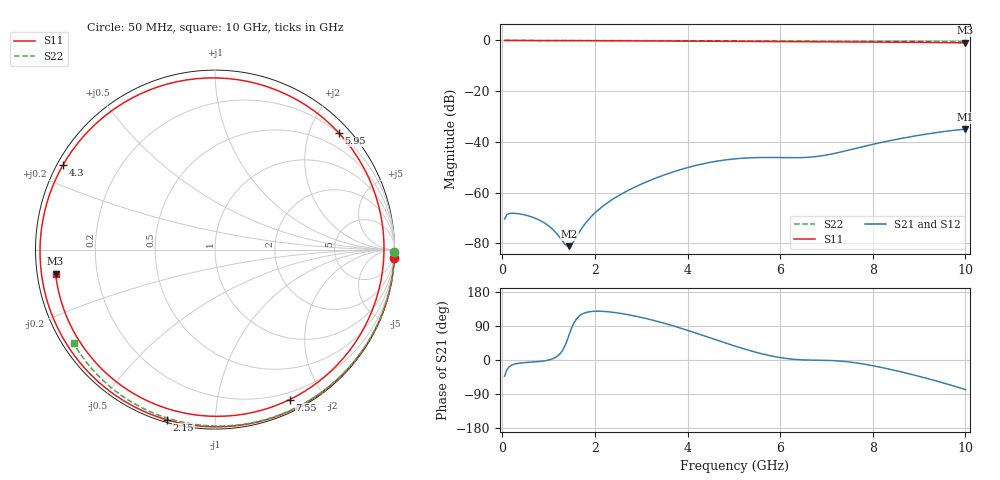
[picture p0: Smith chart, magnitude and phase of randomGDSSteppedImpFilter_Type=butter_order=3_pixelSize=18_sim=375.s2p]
! freq	dB(S11)	phase(S11)	dB(S12)	phase(S12)
!  dB(S21)	phase(S21)	dB(S22)	phase(S22)
!S-par simulation data
#  GHz  S  DB  R 50
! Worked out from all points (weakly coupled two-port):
!   200 points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, 50 MHz to 10 GHz, reference 50 ohm
!   highest |S21| = -34.97 dB at 10 GHz (marker M1); lowest = -81.1 dB at 1.45 GHz (marker M2)
!   lowest |S11| = -0.9 dB at 10 GHz (marker M3), VSWR 18.68, Z = 2.69 - j3.72 ohm
!   |S11| at or under -10 dB: nowhere
!   |S22| runs from -0.5 to 0.0 dB; largest |S21 - S12| = 0
!   S11 on the Smith chart (normalised r, x): 50 MHz: 0, -44; 2.15 GHz: 0.01, -0.76; 4.3 GHz: 0.02, +0.26; 5.95 GHz: 0.20, +2.51; 7.55 GHz: 0.12, -1.61; 10 GHz: 0.05, -0.07
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0.05  -0.00 -2.6  -70.36 -42.7  -70.36 -42.7  -0.00 -0.9
0.2  -0.00 -10.3  -68.08 -13.6  -68.08 -13.6  -0.00 -3.4
0.7  -0.03 -35.9  -69.98 -5.0  -69.98 -5.0  -0.01 -11.9
1.05  -0.06 -53.4  -73.82 1.7  -73.82 1.7  -0.02 -17.8
1.35  -0.08 -68.0  -80.23 36.5  -80.23 36.5  -0.03 -22.8
1.45  -0.09 -72.9  -81.07 69.0  -81.07 69.0  -0.03 -24.4
1.75  -0.11 -87.1  -73.16 122.7  -73.16 122.7  -0.04 -29.4
2.15  -0.13 -105.7  -65.62 128.6  -65.62 128.6  -0.05 -35.9
2.75  -0.16 -133.3  -58.80 118.8  -58.80 118.8  -0.06 -45.6
3.4  -0.20 -163.5  -53.66 100.2  -53.66 100.2  -0.07 -55.8
3.85  -0.23 174.4  -50.89 84.1  -50.89 84.1  -0.09 -62.7
4.3  -0.27 150.8  -48.75 66.2  -48.75 66.2  -0.10 -69.4
5.05  -0.36 106.1  -46.61 35.7  -46.61 35.7  -0.12 -80.4
5.5  -0.41 75.6  -46.16 19.6  -46.16 19.6  -0.14 -86.9
5.95  -0.46 43.2  -46.14 7.4  -46.14 7.4  -0.16 -93.2
6.35  -0.50 14.0  -46.21 1.3  -46.21 1.3  -0.18 -98.7
6.7  -0.53 -10.6  -45.90 -0.4  -45.90 -0.4  -0.20 -103.4
7.15  -0.57 -40.0  -44.61 -1.7  -44.61 -1.7  -0.23 -109.4
7.55  -0.60 -63.5  -42.90 -6.1  -42.90 -6.1  -0.26 -114.7
8.35  -0.67 -103.8  -39.56 -24.0  -39.56 -24.0  -0.32 -125.1
9.2  -0.78 -139.9  -36.78 -49.5  -36.78 -49.5  -0.40 -136.1
10  -0.93 -171.5  -34.97 -77.9  -34.97 -77.9  -0.49 -146.4
